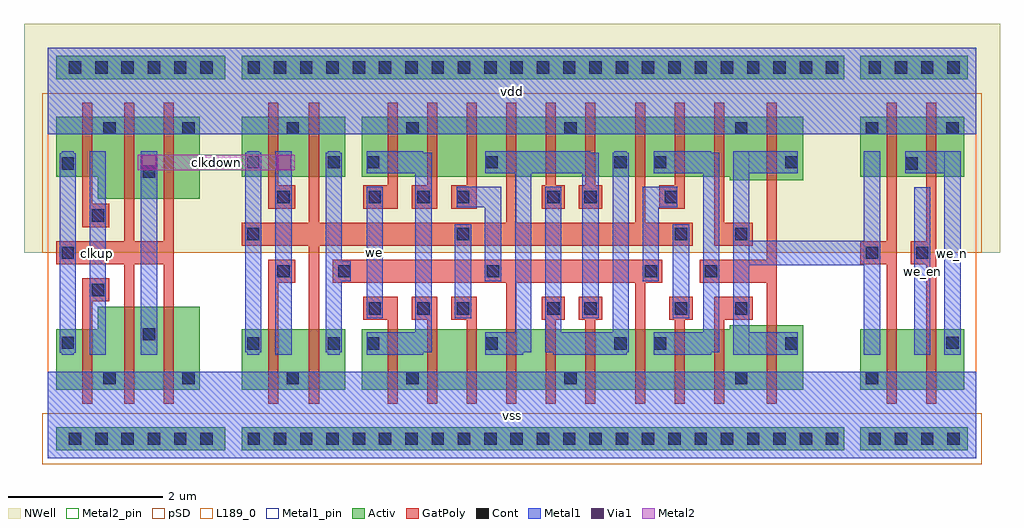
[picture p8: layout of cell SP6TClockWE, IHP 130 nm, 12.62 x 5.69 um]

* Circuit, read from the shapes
.subckt SP6TClockWE clkdown clkup vdd vss we we_en we_n
XM1 vss clkup n1 vss sg13_lv_nmos w=0.78u l=0.13u
XM2 clkdown n1 vss vss sg13_lv_nmos w=1.07u l=0.13u m=2
XM3 vss clkdown n2 vss sg13_lv_nmos w=0.78u l=0.13u
XM4 n3 n2 vss vss sg13_lv_nmos w=0.78u l=0.13u
XM5 vss we n4 vss sg13_lv_nmos w=0.78u l=0.13u
XM6 n5 n4 vss vss sg13_lv_nmos w=0.78u l=0.13u
XM7 n6 n2 n5 vss sg13_lv_nmos w=0.78u l=0.13u
XM8 n7 n3 n6 vss sg13_lv_nmos w=0.78u l=0.13u
XM9 vss n8 n7 vss sg13_lv_nmos w=0.78u l=0.13u
XM10 n8 n6 vss vss sg13_lv_nmos w=0.78u l=0.13u
XM11 n9 n3 n8 vss sg13_lv_nmos w=0.78u l=0.13u
XM12 n10 n2 n9 vss sg13_lv_nmos w=0.78u l=0.13u
XM13 vss nand2_x0_1/i0 n10 vss sg13_lv_nmos w=0.78u l=0.13u
XM14 nand2_x0_1/i0 n9 vss vss sg13_lv_nmos w=0.83u l=0.13u
XM15 n11 nand2_x0_1/i0 vss vss sg13_lv_nmos w=0.78u l=0.13u
XM16 we_n we_en n11 vss sg13_lv_nmos w=0.78u l=0.13u
XM17 vdd clkup n1 vdd sg13_lv_pmos w=0.78u l=0.13u
XM18 clkdown n1 vdd vdd sg13_lv_pmos w=1.06u l=0.13u m=2
XM19 vdd clkdown n2 vdd sg13_lv_pmos w=0.78u l=0.13u
XM20 n3 n2 vdd vdd sg13_lv_pmos w=0.78u l=0.13u
XM21 vdd we n4 vdd sg13_lv_pmos w=0.78u l=0.13u
XM22 n12 n4 vdd vdd sg13_lv_pmos w=0.78u l=0.13u
XM23 n6 n3 n12 vdd sg13_lv_pmos w=0.78u l=0.13u
XM24 n13 n2 n6 vdd sg13_lv_pmos w=0.78u l=0.13u
XM25 vdd n8 n13 vdd sg13_lv_pmos w=0.78u l=0.13u
XM26 n8 n6 vdd vdd sg13_lv_pmos w=0.78u l=0.13u
XM27 n9 n2 n8 vdd sg13_lv_pmos w=0.78u l=0.13u
XM28 n14 n3 n9 vdd sg13_lv_pmos w=0.78u l=0.13u
XM29 vdd nand2_x0_1/i0 n14 vdd sg13_lv_pmos w=0.78u l=0.13u
XM30 nand2_x0_1/i0 n9 vdd vdd sg13_lv_pmos w=0.82u l=0.13u
XM31 we_n nand2_x0_1/i0 vdd vdd sg13_lv_pmos w=0.78u l=0.13u
XM32 vdd we_en we_n vdd sg13_lv_pmos w=0.78u l=0.13u
.ends

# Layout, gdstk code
import gdstk
lib = gdstk.Library(unit=1e-6, precision=1e-09)
def R(c, l, rs):  # rectangles x0, y0, x1, y1
    for r in rs: c.add(gdstk.rectangle(r[:2], r[2:], *l))
def A(c, l, x, y, w, h, nx, ny, dx, dy):  # array of equal rectangles
    R(c, l, [(x+i*dx, y+j*dy, x+i*dx+w, y+j*dy+h) for i in range(nx) for j in range(ny)])
def P(c, l, *ps):  # polygons
    for p in ps: c.add(gdstk.Polygon(p, *l))
Activ = (1, 0)
GatPoly = (5, 0)
Cont = (6, 0)
Metal1 = (8, 0)
Metal1_pin = (8, 2)
Metal2 = (10, 0)
Metal2_pin = (10, 2)
pSD = (14, 0)
Via1 = (19, 0)
NWell = (31, 0)
L189_0 = (189, 0)

buf_x2 = lib.new_cell('buf_x2')
R(buf_x2, Activ, [(0.105,0.105,2.295,0.405), (0.105,4.905,2.295,5.205)])
P(buf_x2, Activ, [(0.105,0.89),(0.105,1.67),(0.645,1.67),(0.645,1.96),(1.965,1.96),(1.965,0.89)],
  [(0.645,3.36),(0.645,3.64),(0.105,3.64),(0.105,4.42),(1.965,4.42),(1.965,3.36)])
P(buf_x2, GatPoly, [(0.985,0.71),(0.985,2.51),(0.105,2.51),(0.105,2.81),(0.985,2.81),(0.985,4.6),(1.115,4.6),(1.115,2.81),(1.495,2.81),(1.495,4.6),(1.625,4.6),(1.625,0.71),(1.495,0.71),(1.495,2.51),(1.115,2.51),(1.115,0.71)],
  [(0.445,2.99),(0.445,4.6),(0.575,4.6),(0.575,3.29),(0.795,3.29),(0.795,2.99)],
  [(0.445,0.71),(0.445,2.33),(0.795,2.33),(0.795,2.03),(0.575,2.03),(0.575,0.71)])
A(buf_x2, Cont, 0.27, 0.175, 0.16, 0.16, 6, 2, 0.34, 4.8)
R(buf_x2, Cont, [(0.715,0.96,0.875,1.12), (1.735,0.96,1.895,1.12), (0.175,1.415,0.335,1.575), (1.225,1.525,1.385,1.685), (0.565,2.1,0.725,2.26), (0.175,2.58,0.335,2.74), (0.565,3.06,0.725,3.22), (1.225,3.63,1.385,3.79), (0.175,3.735,0.335,3.895), (0.715,4.19,0.875,4.35), (1.735,4.19,1.895,4.35)])
R(buf_x2, Metal1, [(0,0,2.4,1.12), (0.54,1.34,0.75,3.97), (1.2,1.34,1.41,3.97), (0,4.19,2.4,5.31)])
P(buf_x2, Metal1, [(0.175,1.34),(0.175,1.365),(0.15,1.365),(0.15,3.945),(0.175,3.945),(0.175,3.97),(0.335,3.97),(0.335,3.945),(0.36,3.945),(0.36,1.365),(0.335,1.365),(0.335,1.34)])
R(buf_x2, Metal1_pin, [(0,0,2.4,1.12), (0.54,1.34,0.75,3.97), (1.2,1.34,1.41,3.97), (0,4.19,2.4,5.31)])
R(buf_x2, pSD, [(-0.075,-0.075,2.475,0.585), (-0.075,2.66,2.475,4.72)])
R(buf_x2, NWell, [(-0.31,2.66,2.71,5.62)])
buf_x2.add(gdstk.Label('vdd', (1.2,4.75), layer=8, texttype=25))
buf_x2.add(gdstk.Label('vss', (1.2,0.56), layer=8, texttype=25))
buf_x2.add(gdstk.Label('i', (0.645,2.655), layer=8, texttype=25))
buf_x2.add(gdstk.Label('q', (1.305,2.655), layer=8, texttype=25))

nand2_x0 = lib.new_cell('nand2_x0')
R(nand2_x0, Activ, [(0.105,0.105,1.495,0.405), (0.105,0.89,1.445,1.67), (0.105,3.64,1.445,4.42), (0.105,4.905,1.495,5.205)])
P(nand2_x0, GatPoly, [(0.445,0.71),(0.445,2.51),(0.105,2.51),(0.105,2.81),(0.445,2.81),(0.445,4.6),(0.575,4.6),(0.575,0.71)],
  [(0.955,0.71),(0.955,2.51),(0.755,2.51),(0.755,2.81),(0.955,2.81),(0.955,4.6),(1.085,4.6),(1.085,0.71)])
A(nand2_x0, Cont, 0.21, 0.175, 0.16, 0.16, 4, 2, 0.34, 4.8)
R(nand2_x0, Cont, [(0.175,0.96,0.335,1.12), (1.215,1.415,1.375,1.575), (0.175,2.58,0.335,2.74), (0.825,2.58,0.985,2.74), (0.685,3.735,0.845,3.895), (0.175,4.19,0.335,4.35), (1.215,4.19,1.375,4.35)])
R(nand2_x0, Metal1, [(0,0,1.6,1.12), (0.15,1.34,0.36,3.97), (0.8,1.34,1.01,3.505), (0,4.19,1.6,5.31)])
P(nand2_x0, Metal1, [(1.19,1.34),(1.19,3.685),(0.685,3.685),(0.685,3.97),(1.4,3.97),(1.4,1.34)])
R(nand2_x0, Metal1_pin, [(0,0,1.6,1.12), (0.15,1.34,0.36,3.97), (0.8,1.34,1.01,3.505), (1.19,1.34,1.4,3.97), (0,4.19,1.6,5.31)])
R(nand2_x0, pSD, [(-0.075,-0.075,1.675,0.585), (-0.075,2.66,1.675,4.72)])
R(nand2_x0, NWell, [(-0.31,2.66,1.91,5.62)])
nand2_x0.add(gdstk.Label('vss', (0.8,0.56), layer=8, texttype=25))
nand2_x0.add(gdstk.Label('vdd', (0.8,4.75), layer=8, texttype=25))
nand2_x0.add(gdstk.Label('i0', (0.255,2.655), layer=8, texttype=25))
nand2_x0.add(gdstk.Label('i1', (0.905,2.423), layer=8, texttype=25))
nand2_x0.add(gdstk.Label('nq', (1.295,2.655), layer=8, texttype=25))

dff_x1 = lib.new_cell('dff_x1')
R(dff_x1, Activ, [(0.105,0.105,7.895,0.405), (0.105,0.89,1.445,1.67), (0.105,3.64,1.445,4.42), (0.105,4.905,7.895,5.205)])
P(dff_x1, Activ, [(6.415,3.6),(6.415,3.64),(1.655,3.64),(1.655,4.42),(7.365,4.42),(7.365,3.6)],
  [(1.655,0.89),(1.655,1.67),(6.415,1.67),(6.415,1.72),(7.365,1.72),(7.365,0.89)])
P(dff_x1, GatPoly, [(4.035,0.71),(4.035,1.79),(3.985,1.79),(3.985,2.09),(4.285,2.09),(4.285,1.79),(4.165,1.79),(4.165,0.71)],
  [(6.215,2.75),(6.215,4.6),(6.345,4.6),(6.345,3.05),(6.715,3.05),(6.715,2.75)],
  [(4.545,0.71),(4.545,1.79),(4.465,1.79),(4.465,2.09),(4.765,2.09),(4.765,1.79),(4.675,1.79),(4.675,0.71)],
  [(6.215,0.71),(6.215,2.09),(6.715,2.09),(6.715,1.79),(6.345,1.79),(6.345,0.71)],
  [(6.895,0.71),(6.895,2.27),(6.025,2.27),(6.025,2.57),(6.895,2.57),(6.895,4.6),(7.025,4.6),(7.025,0.71)],
  [(5.705,0.71),(5.705,1.79),(5.635,1.79),(5.635,2.09),(5.935,2.09),(5.935,1.79),(5.835,1.79),(5.835,0.71)],
  [(2.505,0.71),(2.505,1.79),(2.305,1.79),(2.305,2.09),(2.635,2.09),(2.635,0.71)],
  [(3.015,0.71),(3.015,1.79),(2.815,1.79),(2.815,2.09),(3.145,2.09),(3.145,0.71)],
  [(0.975,0.71),(0.975,2.75),(0.105,2.75),(0.105,3.05),(0.975,3.05),(0.975,4.6),(1.105,4.6),(1.105,3.05),(3.525,3.05),(3.525,4.6),(3.655,4.6),(3.655,3.05),(5.195,3.05),(5.195,4.6),(5.325,4.6),(5.325,3.05),(5.935,3.05),(5.935,2.75),(1.105,2.75),(1.105,0.71)],
  [(1.995,0.71),(1.995,1.79),(1.675,1.79),(1.675,2.09),(2.125,2.09),(2.125,0.71)],
  [(2.305,3.23),(2.305,3.53),(2.505,3.53),(2.505,4.6),(2.635,4.6),(2.635,3.23)],
  [(2.815,3.23),(2.815,3.53),(3.015,3.53),(3.015,4.6),(3.145,4.6),(3.145,3.23)],
  [(5.505,3.23),(5.505,3.53),(5.705,3.53),(5.705,4.6),(5.835,4.6),(5.835,3.23)],
  [(0.445,0.71),(0.445,2.57),(0.795,2.57),(0.795,2.27),(0.575,2.27),(0.575,0.71)],
  [(3.525,0.71),(3.525,2.27),(1.285,2.27),(1.285,2.57),(5.545,2.57),(5.545,2.27),(5.325,2.27),(5.325,0.71),(5.195,0.71),(5.195,2.27),(3.655,2.27),(3.655,0.71)],
  [(3.985,3.23),(3.985,3.53),(4.035,3.53),(4.035,4.6),(4.165,4.6),(4.165,3.53),(4.285,3.53),(4.285,3.23)],
  [(0.445,3.23),(0.445,4.6),(0.575,4.6),(0.575,3.53),(0.795,3.53),(0.795,3.23)],
  [(1.675,3.23),(1.675,3.53),(1.995,3.53),(1.995,4.6),(2.125,4.6),(2.125,3.23)],
  [(4.465,3.23),(4.465,3.53),(4.545,3.53),(4.545,4.6),(4.675,4.6),(4.675,3.53),(4.765,3.53),(4.765,3.23)])
A(dff_x1, Cont, 0.18, 0.175, 0.16, 0.16, 23, 2, 0.34, 4.8)
R(dff_x1, Cont, [(0.685,0.96,0.845,1.12), (2.235,0.96,2.395,1.12), (4.275,0.96,4.435,1.12), (6.485,0.96,6.645,1.12), (0.175,1.405,0.335,1.565), (1.215,1.405,1.375,1.565), (1.725,1.405,1.885,1.565), (3.255,1.405,3.415,1.565), (4.925,1.405,5.085,1.565), (5.435,1.405,5.595,1.565), (7.135,1.405,7.295,1.565), (1.745,1.86,1.905,2.02), (2.375,1.86,2.535,2.02), (2.885,1.86,3.045,2.02), (4.055,1.86,4.215,2.02), (4.535,1.86,4.695,2.02), (5.705,1.86,5.865,2.02), (6.485,1.86,6.645,2.02), (0.565,2.34,0.725,2.5), (1.355,2.34,1.515,2.5), (3.275,2.34,3.435,2.5), (5.315,2.34,5.475,2.5), (6.095,2.34,6.255,2.5), (0.175,2.82,0.335,2.98), (2.885,2.82,3.045,2.98), (5.705,2.82,5.865,2.98), (6.485,2.82,6.645,2.98), (0.565,3.3,0.725,3.46), (1.745,3.3,1.905,3.46), (2.375,3.3,2.535,3.46), (2.885,3.3,3.045,3.46), (4.055,3.3,4.215,3.46), (4.535,3.3,4.695,3.46), (5.575,3.3,5.735,3.46), (0.175,3.75,0.335,3.91), (1.215,3.75,1.375,3.91), (1.725,3.75,1.885,3.91), (3.255,3.75,3.415,3.91), (4.925,3.75,5.085,3.91), (5.435,3.75,5.595,3.91), (7.135,3.75,7.295,3.91), (0.685,4.19,0.845,4.35), (2.235,4.19,2.395,4.35), (4.275,4.19,4.435,4.35), (6.485,4.19,6.645,4.35)])
R(dff_x1, Metal1, [(0,0,8,1.12), (0.54,1.34,0.75,3.97), (1.72,1.81,1.93,3.51), (2.86,1.81,3.07,3.03), (5.68,1.81,5.89,3.03), (0,4.19,8,5.31)])
P(dff_x1, Metal1, [(0.175,1.34),(0.175,1.37),(0.15,1.37),(0.15,3.95),(0.175,3.95),(0.175,3.97),(0.335,3.97),(0.335,3.95),(0.36,3.95),(0.36,1.37),(0.335,1.37),(0.335,1.34)],
  [(1.215,1.34),(1.215,1.37),(1.19,1.37),(1.19,3.95),(1.215,3.95),(1.215,3.97),(1.375,3.97),(1.375,3.95),(1.4,3.95),(1.4,2.55),(1.515,2.55),(1.515,2.29),(1.4,2.29),(1.4,1.37),(1.375,1.37),(1.375,1.34)],
  [(5.29,2.29),(5.29,3.51),(5.735,3.51),(5.735,3.25),(5.5,3.25),(5.5,2.29)],
  [(3.25,2.29),(3.25,3.25),(2.885,3.25),(2.885,3.51),(3.46,3.51),(3.46,2.29)],
  [(3.255,1.34),(3.255,1.63),(3.64,1.63),(3.64,3.69),(3.255,3.69),(3.255,3.97),(4.615,3.97),(4.615,3.95),(4.72,3.95),(4.72,1.81),(4.51,1.81),(4.51,3.69),(3.85,3.69),(3.85,1.37),(3.745,1.37),(3.745,1.34)],
  [(1.725,1.34),(1.725,1.63),(2.35,1.63),(2.35,3.69),(1.725,3.69),(1.725,3.97),(2.455,3.97),(2.455,3.95),(2.56,3.95),(2.56,1.37),(2.455,1.37),(2.455,1.34)],
  [(4.135,1.34),(4.135,1.37),(4.03,1.37),(4.03,3.51),(4.24,3.51),(4.24,1.63),(4.9,1.63),(4.9,3.95),(4.925,3.95),(4.925,3.97),(5.085,3.97),(5.085,3.95),(5.11,3.95),(5.11,1.37),(5.085,1.37),(5.085,1.34)],
  [(5.435,1.34),(5.435,1.63),(6.07,1.63),(6.07,3.69),(5.435,3.69),(5.435,3.97),(6.175,3.97),(6.175,3.95),(6.28,3.95),(6.28,1.37),(6.175,1.37),(6.175,1.34)],
  [(6.46,1.34),(6.46,3.97),(7.295,3.97),(7.295,3.69),(6.67,3.69),(6.67,1.63),(7.295,1.63),(7.295,1.34)])
R(dff_x1, Metal1_pin, [(0,0,8,1.12), (0.54,1.34,0.75,3.97), (6.46,1.34,6.67,3.97), (1.72,1.81,1.93,3.51), (0,4.19,8,5.31)])
R(dff_x1, pSD, [(-0.075,-0.075,8.075,0.585), (-0.075,2.66,8.075,4.72)])
R(dff_x1, NWell, [(-0.31,2.66,8.31,5.62)])
dff_x1.add(gdstk.Label('vdd', (4,4.75), layer=8, texttype=25))
dff_x1.add(gdstk.Label('vss', (4,0.56), layer=8, texttype=25))
dff_x1.add(gdstk.Label('clk', (0.645,2.655), layer=8, texttype=25))
dff_x1.add(gdstk.Label('i', (1.825,2.66), layer=8, texttype=25))
dff_x1.add(gdstk.Label('q', (6.565,2.655), layer=8, texttype=25))

sp6tclockwe = lib.new_cell('SP6TClockWE')
R(sp6tclockwe, Metal1, [(0,0,12,1.12), (0.54,1.34,0.75,3.97), (11.2,1.34,11.41,3.505), (11.59,1.34,11.8,3.97), (4.12,1.81,4.33,3.51), (8.965,2.495,10.655,2.815), (1.2,3.68,1.41,3.97), (2.94,3.68,3.15,3.97), (0,4.19,12,5.31)])
R(sp6tclockwe, Metal1_pin, [(0,0,12,1.12), (0.54,1.34,0.75,3.97), (11.2,1.34,11.41,3.505), (11.59,1.34,11.8,3.97), (4.12,1.81,4.33,3.51), (0,4.19,12,5.31)])
R(sp6tclockwe, Metal2, [(1.16,3.725,3.19,3.925)])
R(sp6tclockwe, Metal2_pin, [(1.16,3.725,3.19,3.925)])
R(sp6tclockwe, Via1, [(1.21,3.73,1.4,3.92), (2.95,3.73,3.14,3.92)])
R(sp6tclockwe, L189_0, [(0,0,12,5.31)])
sp6tclockwe.add(gdstk.Reference(buf_x2, (0,0)))
sp6tclockwe.add(gdstk.Reference(nand2_x0, (10.4,0)))
sp6tclockwe.add(gdstk.Reference(dff_x1, (2.4,0)))
sp6tclockwe.add(gdstk.Label('clkdown', (2.175,3.825), layer=10, texttype=25))
sp6tclockwe.add(gdstk.Label('clkup', (0.645,2.655), layer=8, texttype=25))
sp6tclockwe.add(gdstk.Label('we', (4.225,2.66), layer=8, texttype=25))
sp6tclockwe.add(gdstk.Label('we_en', (11.305,2.423), layer=8, texttype=25))
sp6tclockwe.add(gdstk.Label('we_n', (11.695,2.655), layer=8, texttype=25))
sp6tclockwe.add(gdstk.Label('vss', (6,0.56), layer=8, texttype=25))
sp6tclockwe.add(gdstk.Label('vdd', (6,4.75), layer=8, texttype=25))

lib.write_gds('SP6TClockWE.gds')
